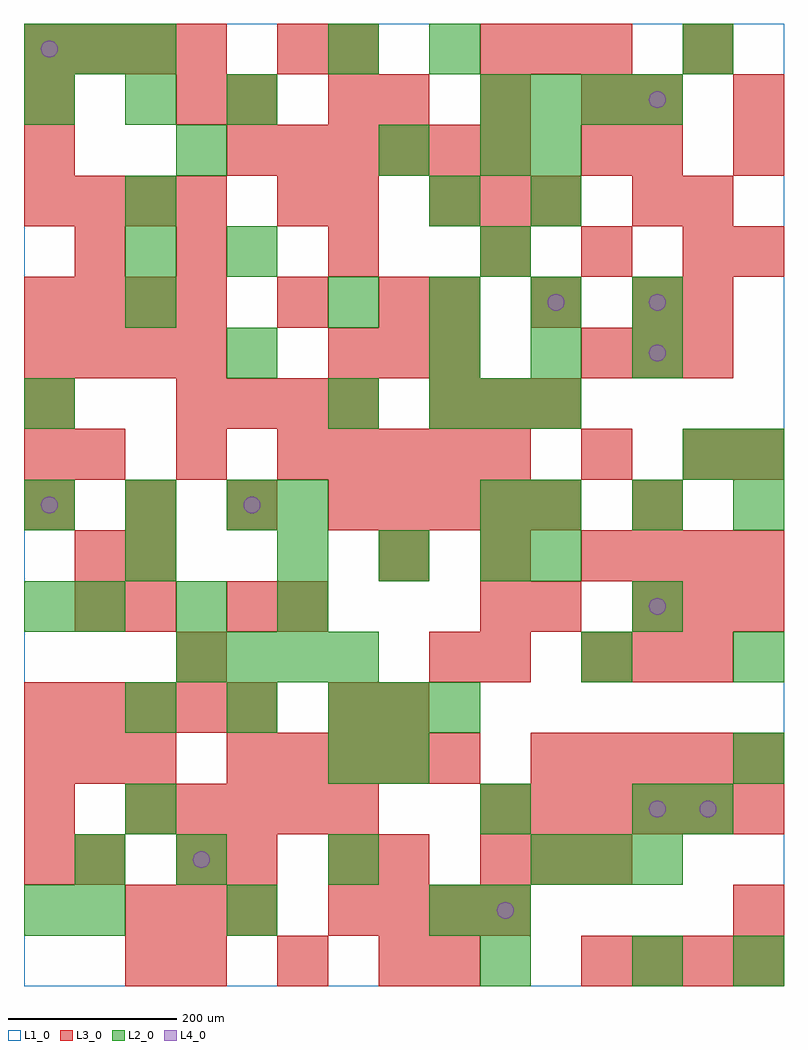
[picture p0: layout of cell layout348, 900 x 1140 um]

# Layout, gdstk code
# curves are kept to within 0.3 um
import gdstk
lib = gdstk.Library(unit=1e-6, precision=1e-09)
def R(c, l, rs):  # rectangles x0, y0, x1, y1
    for r in rs: c.add(gdstk.rectangle(r[:2], r[2:], *l))
def A(c, l, x, y, w, h, nx, ny, dx, dy):  # array of equal rectangles
    R(c, l, [(x+i*dx, y+j*dy, x+i*dx+w, y+j*dy+h) for i in range(nx) for j in range(ny)])
def P(c, l, *ps):  # polygons
    for p in ps: c.add(gdstk.Polygon(p, *l))
L1_0 = (1, 0)
L2_0 = (2, 0)
L3_0 = (3, 0)
L4_0 = (4, 0)

layout348 = lib.new_cell('layout348')
R(layout348, L1_0, [(0,0,900,1140)])
A(layout348, L2_0, 600, 120, 60, 60, 3, 1, 60, 0)
A(layout348, L2_0, 120, 180, 60, 60, 1, 3, 0, 300)
A(layout348, L2_0, 360, 240, 60, 60, 1, 3, 0, 420)
A(layout348, L2_0, 120, 300, 60, 60, 3, 1, 120, 0)
A(layout348, L2_0, 180, 360, 60, 60, 4, 1, 60, 0)
A(layout348, L2_0, 60, 420, 60, 60, 3, 1, 120, 0)
A(layout348, L2_0, 300, 480, 60, 60, 3, 1, 120, 0)
A(layout348, L2_0, 0, 540, 60, 60, 3, 2, 120, 480)
A(layout348, L2_0, 600, 540, 60, 60, 3, 1, 120, 0)
A(layout348, L2_0, 480, 660, 60, 60, 3, 1, 60, 0)
A(layout348, L2_0, 480, 720, 60, 60, 3, 1, 120, 0)
A(layout348, L2_0, 360, 780, 60, 60, 4, 1, 120, 0)
A(layout348, L2_0, 540, 1020, 60, 60, 4, 1, 60, 0)
A(layout348, L2_0, 0, 1080, 60, 60, 3, 1, 60, 0)
R(layout348, L2_0, [(540,0,600,60), (720,0,780,60), (840,0,900,60), (0,60,60,120), (60,60,120,120), (240,60,300,120), (480,60,540,120), (540,60,600,120), (60,120,120,180), (180,120,240,180), (360,120,420,180), (540,180,600,240), (720,180,780,240), (780,180,840,240), (420,240,480,300), (840,240,900,300), (420,300,480,360), (480,300,540,360), (660,360,720,420), (840,360,900,420), (0,420,60,480), (720,420,780,480), (600,480,660,540), (300,540,360,600), (540,540,600,600), (780,600,840,660), (840,600,900,660), (0,660,60,720), (240,720,300,780), (120,840,180,900), (240,840,300,900), (540,840,600,900), (120,900,180,960), (480,900,540,960), (600,900,660,960), (180,960,240,1020), (420,960,480,1020), (540,960,600,1020), (600,960,660,1020), (480,1080,540,1140), (780,1080,840,1140)])
A(layout348, L3_0, 180, 0, 60, 60, 3, 1, 120, 0)
A(layout348, L3_0, 660, 0, 60, 60, 4, 1, 60, 0)
A(layout348, L3_0, 120, 60, 60, 60, 3, 1, 60, 0)
A(layout348, L3_0, 360, 60, 60, 60, 4, 2, 60, 540)
A(layout348, L3_0, 540, 120, 60, 60, 3, 2, 60, 960)
A(layout348, L3_0, 120, 180, 60, 60, 5, 1, 60, 0)
A(layout348, L3_0, 540, 180, 60, 60, 6, 1, 60, 0)
A(layout348, L3_0, 0, 240, 60, 60, 3, 1, 60, 0)
A(layout348, L3_0, 240, 240, 60, 60, 5, 1, 60, 0)
A(layout348, L3_0, 600, 240, 60, 60, 5, 1, 60, 0)
A(layout348, L3_0, 0, 300, 60, 60, 5, 1, 60, 0)
A(layout348, L3_0, 660, 360, 60, 60, 3, 2, 60, 360)
A(layout348, L3_0, 720, 420, 60, 60, 3, 2, 60, 60)
A(layout348, L3_0, 420, 480, 60, 60, 3, 2, 120, 540)
A(layout348, L3_0, 0, 540, 60, 60, 4, 1, 120, 0)
A(layout348, L3_0, 420, 540, 60, 60, 4, 1, 60, 0)
A(layout348, L3_0, 60, 600, 60, 60, 3, 1, 120, 0)
A(layout348, L3_0, 180, 660, 60, 60, 4, 1, 60, 0)
A(layout348, L3_0, 480, 660, 60, 60, 3, 2, 60, 240)
A(layout348, L3_0, 0, 720, 60, 60, 4, 2, 60, 60)
A(layout348, L3_0, 360, 720, 60, 60, 3, 1, 60, 0)
A(layout348, L3_0, 480, 780, 60, 60, 3, 1, 120, 0)
A(layout348, L3_0, 780, 780, 60, 60, 1, 3, 0, 60)
A(layout348, L3_0, 180, 840, 60, 60, 3, 1, 180, 0)
A(layout348, L3_0, 0, 900, 60, 60, 4, 2, 60, 180)
A(layout348, L3_0, 720, 900, 60, 60, 1, 3, 0, 60)
A(layout348, L3_0, 240, 960, 60, 60, 6, 1, 60, 0)
R(layout348, L3_0, [(120,0,180,60), (480,0,540,60), (840,60,900,120), (0,120,60,180), (60,120,120,180), (180,120,240,180), (240,120,300,180), (360,120,420,180), (420,120,480,180), (0,180,60,240), (360,300,420,360), (420,300,480,360), (180,360,240,420), (480,360,540,420), (540,360,600,420), (60,420,120,480), (120,420,180,480), (240,420,300,480), (300,420,360,480), (540,420,600,480), (600,420,660,480), (60,480,120,540), (120,480,180,540), (720,540,780,600), (0,600,60,660), (660,600,720,660), (780,600,840,660), (840,600,900,660), (0,660,60,720), (300,780,360,840), (420,780,480,840), (60,840,120,900), (660,840,720,900), (840,840,900,900), (300,900,360,960), (360,900,420,960), (0,960,60,1020), (660,960,720,1020), (840,960,900,1020), (0,1020,60,1080), (180,1020,240,1080), (240,1020,300,1080), (360,1020,420,1080), (840,1020,900,1080), (300,1080,360,1140), (360,1080,420,1140), (780,1080,840,1140)])
P(layout348, L4_0, [(40,570),(39.239,573.827),(37.071,577.071),(33.827,579.239),(30,580),(26.173,579.239),(22.929,577.071),(20.761,573.827),(20,570),(20.761,566.173),(22.929,562.929),(26.173,560.761),(30,560),(33.827,560.761),(37.071,562.929),(39.239,566.173)],
  [(40,1110),(39.239,1113.827),(37.071,1117.071),(33.827,1119.239),(30,1120),(26.173,1119.239),(22.929,1117.071),(20.761,1113.827),(20,1110),(20.761,1106.173),(22.929,1102.929),(26.173,1100.761),(30,1100),(33.827,1100.761),(37.071,1102.929),(39.239,1106.173)],
  [(220,150),(219.239,153.827),(217.071,157.071),(213.827,159.239),(210,160),(206.173,159.239),(202.929,157.071),(200.761,153.827),(200,150),(200.761,146.173),(202.929,142.929),(206.173,140.761),(210,140),(213.827,140.761),(217.071,142.929),(219.239,146.173)],
  [(280,570),(279.239,573.827),(277.071,577.071),(273.827,579.239),(270,580),(266.173,579.239),(262.929,577.071),(260.761,573.827),(260,570),(260.761,566.173),(262.929,562.929),(266.173,560.761),(270,560),(273.827,560.761),(277.071,562.929),(279.239,566.173)],
  [(580,90),(579.239,93.827),(577.071,97.071),(573.827,99.239),(570,100),(566.173,99.239),(562.929,97.071),(560.761,93.827),(560,90),(560.761,86.173),(562.929,82.929),(566.173,80.761),(570,80),(573.827,80.761),(577.071,82.929),(579.239,86.173)],
  [(640,810),(639.239,813.827),(637.071,817.071),(633.827,819.239),(630,820),(626.173,819.239),(622.929,817.071),(620.761,813.827),(620,810),(620.761,806.173),(622.929,802.929),(626.173,800.761),(630,800),(633.827,800.761),(637.071,802.929),(639.239,806.173)],
  [(760,210),(759.239,213.827),(757.071,217.071),(753.827,219.239),(750,220),(746.173,219.239),(742.929,217.071),(740.761,213.827),(740,210),(740.761,206.173),(742.929,202.929),(746.173,200.761),(750,200),(753.827,200.761),(757.071,202.929),(759.239,206.173)],
  [(760,450),(759.239,453.827),(757.071,457.071),(753.827,459.239),(750,460),(746.173,459.239),(742.929,457.071),(740.761,453.827),(740,450),(740.761,446.173),(742.929,442.929),(746.173,440.761),(750,440),(753.827,440.761),(757.071,442.929),(759.239,446.173)],
  [(760,750),(759.239,753.827),(757.071,757.071),(753.827,759.239),(750,760),(746.173,759.239),(742.929,757.071),(740.761,753.827),(740,750),(740.761,746.173),(742.929,742.929),(746.173,740.761),(750,740),(753.827,740.761),(757.071,742.929),(759.239,746.173)],
  [(760,810),(759.239,813.827),(757.071,817.071),(753.827,819.239),(750,820),(746.173,819.239),(742.929,817.071),(740.761,813.827),(740,810),(740.761,806.173),(742.929,802.929),(746.173,800.761),(750,800),(753.827,800.761),(757.071,802.929),(759.239,806.173)],
  [(760,1050),(759.239,1053.827),(757.071,1057.071),(753.827,1059.239),(750,1060),(746.173,1059.239),(742.929,1057.071),(740.761,1053.827),(740,1050),(740.761,1046.173),(742.929,1042.929),(746.173,1040.761),(750,1040),(753.827,1040.761),(757.071,1042.929),(759.239,1046.173)],
  [(820,210),(819.239,213.827),(817.071,217.071),(813.827,219.239),(810,220),(806.173,219.239),(802.929,217.071),(800.761,213.827),(800,210),(800.761,206.173),(802.929,202.929),(806.173,200.761),(810,200),(813.827,200.761),(817.071,202.929),(819.239,206.173)])

lib.write_gds('layout348.gds')
